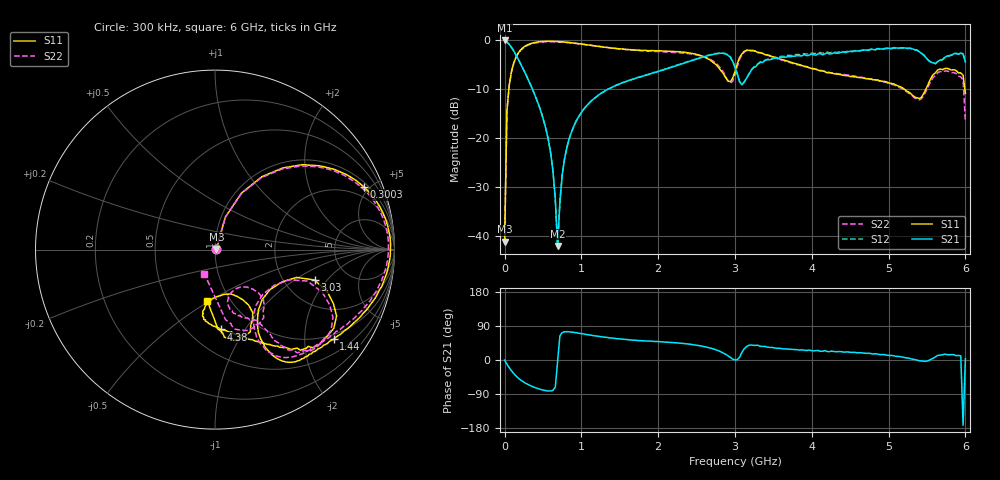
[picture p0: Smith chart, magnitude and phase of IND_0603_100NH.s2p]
# Hz S RI R 50
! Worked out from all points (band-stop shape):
!   201 points, 300 kHz to 6 GHz, reference 50 ohm
!   highest |S21| = -0.03 dB at 300 kHz (marker M1); lowest = -42.0 dB at 690.3 MHz (marker M2)
!   |S21| within 3 dB of the highest: 2.675 GHz to 2.908 GHz (233.3 MHz wide, 8.36 % of centre); 4.051 GHz to 5.459 GHz (1.408 GHz wide, 29.6 % of centre)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
!   lowest |S11| = -41.1 dB at 300 kHz (marker M3), VSWR 1.02, Z = 50.8 + j0.413 ohm
!   |S11| at or under -10 dB: start of sweep to 55.45 MHz; 5.206 GHz to 5.485 GHz (278.4 MHz wide, 5.21 % of centre); 5.993467 GHz to end of sweep
!   |S22| runs from -41.5 to -0.3 dB; largest |S21 - S12| = 0.038
!   S11 on the Smith chart (normalised r, x): 300 kHz: 1.02, +0.01; 300.3 MHz: 1.26, +4.63; 1.44 GHz: 0.86, -2.75; 3.03 GHz: 2.93, -1.49; 4.38 GHz: 0.71, -0.78; 6 GHz: 0.78, -0.49
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300000  0.00782 0.00407  0.9969 -0.00329  0.9873 -0.000119  0.00719 0.00442
3.02985e7  0.0579 0.1813  0.9435 -0.1805  0.9434 -0.1804  0.0569 0.1788
6.0297e7  0.1482 0.3157  0.854 -0.3152  0.854 -0.3149  0.1469 0.3121
3.00285e8  0.8295 0.3492  0.1778 -0.3686  0.1779 -0.3684  0.8192 0.3446
5.702715e8  0.9781 0.0335  0.0136 -0.0951  0.0134 -0.095  0.9665 0.0431
6.302685e8  0.9773 -0.0251  0.00802 -0.0457  0.0081 -0.0456  0.9663 -0.0112
6.902655e8  0.9678 -0.0823  0.00794 -0.00068  0.00792 -0.000741  0.9605 -0.0628
7.80261e8  0.9459 -0.1595  0.0166 0.0594  0.0165 0.0594  0.9418 -0.133
1.020249e9  0.8537 -0.3241  0.0692 0.181  0.0686 0.1808  0.8663 -0.2826
1.440228e9  0.6619 -0.4985  0.1881 0.2888  0.1861 0.2904  0.6981 -0.4444
2.0102e9  0.4976 -0.6031  0.3214 0.3633  0.3216 0.37  0.5275 -0.5589
2.670166e9  0.2947 -0.5623  0.5989 0.3711  0.6031 0.3748  0.3011 -0.5719
3.00015e9  0.4544 -0.1549  0.5321 0.00104  0.536 0.000754  0.4133 -0.1683
3.030148e9  0.555 -0.1692  0.4503 0.00744  0.4557 0.00687  0.5145 -0.1754
3.270136e9  0.5447 -0.5467  0.4218 0.3358  0.4284 0.3408  0.5298 -0.5652
4.020099e9  0.1632 -0.4874  0.6519 0.2887  0.6768 0.2933  0.274 -0.4345
4.380081e9  0.0324 -0.4446  0.6978 0.2854  0.7173 0.2588  0.2255 -0.3936
5.01005e9  -0.0679 -0.3597  0.809 0.1694  0.8018 0.1543  0.0968 -0.3474
5.550022e9  0.2103 -0.3516  0.5996 0.019  0.6007 0.0103  0.2687 -0.2751
5.940003e9  0.0419 -0.4629  0.7289 0.1416  0.7353 0.1366  0.0893 -0.4129
5.970002e9  0.0158 -0.4399  -0.7144 -0.1  -0.7244 -0.0936  0.0588 -0.3905
6e9  -0.0431 -0.2852  0.6007 0.032  0.6075 0.0239  -0.0589 -0.1356
